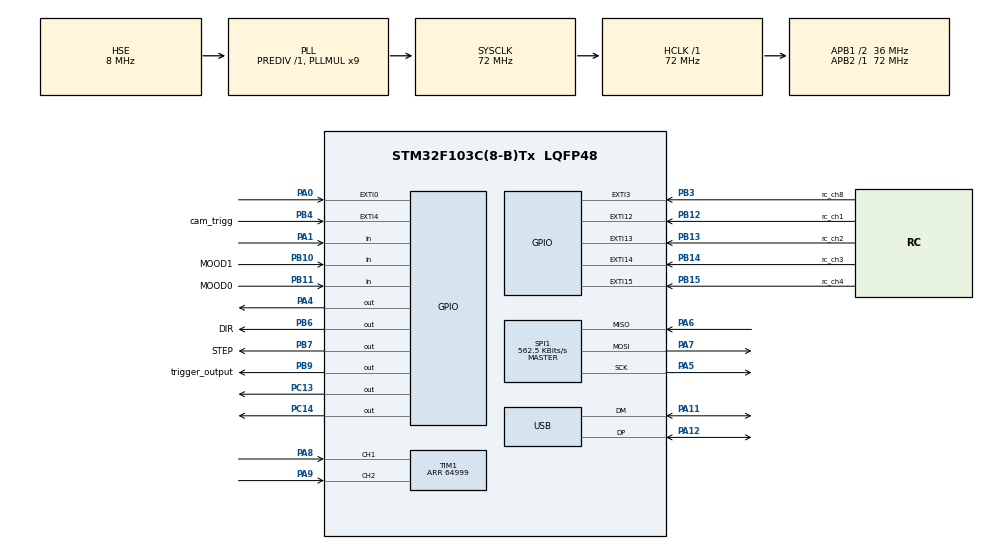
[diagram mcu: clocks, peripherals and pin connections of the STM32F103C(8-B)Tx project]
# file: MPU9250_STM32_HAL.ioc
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Mcu.Family=STM32F1
Mcu.Name=STM32F103C(8-B)Tx
Mcu.Package=LQFP48
NVIC.EXTI0_IRQn=true\:0\:0\:false\:false\:true\:true\:true
NVIC.EXTI15_10_IRQn=true\:0\:0\:false\:false\:true\:true\:true
NVIC.EXTI3_IRQn=true\:0\:0\:false\:false\:true\:true\:true
NVIC.EXTI4_IRQn=true\:0\:0\:false\:false\:true\:true\:true
NVIC.PriorityGroup=NVIC_PRIORITYGROUP_4
NVIC.TIM1_UP_IRQn=true\:0\:0\:false\:false\:true\:true\:true
NVIC.TIM3_IRQn=true\:0\:0\:false\:false\:true\:true\:true
NVIC.TIM4_IRQn=true\:0\:0\:false\:false\:true\:true\:true
NVIC.USB_LP_CAN1_RX0_IRQn=true\:0\:0\:false\:false\:true\:false\:true
PA0-WKUP.Signal=GPXTI0
PA1.Signal=GPIO_Input
PA11.Mode=Device
PA11.Signal=USB_DM
PA12.Mode=Device
PA12.Signal=USB_DP
PA13.Mode=Serial_Wire
PA13.Signal=SYS_JTMS-SWDIO
PA14.Mode=Serial_Wire
PA14.Signal=SYS_JTCK-SWCLK
PA4.Signal=GPIO_Output
PA5.Mode=Full_Duplex_Master
PA5.Signal=SPI1_SCK
PA6.Mode=Full_Duplex_Master
PA6.Signal=SPI1_MISO
PA7.Mode=Full_Duplex_Master
PA7.Signal=SPI1_MOSI
PA8.Signal=S_TIM1_CH1
PA9.Signal=S_TIM1_CH2
PB10.GPIO_Label=MOOD1
PB10.GPIO_PuPd=GPIO_PULLDOWN
PB10.Signal=GPIO_Input
PB11.GPIO_Label=MOOD0
PB11.GPIO_PuPd=GPIO_PULLDOWN
PB11.Signal=GPIO_Input
PB12.GPIO_Label=rc_ch1
PB12.GPIO_ModeDefaultEXTI=GPIO_MODE_IT_RISING_FALLING
PB12.GPIO_PuPd=GPIO_PULLDOWN
PB12.Signal=GPXTI12
PB13.GPIO_Label=rc_ch2
PB13.GPIO_ModeDefaultEXTI=GPIO_MODE_IT_RISING_FALLING
PB13.GPIO_PuPd=GPIO_PULLDOWN
PB13.Signal=GPXTI13
PB14.GPIO_Label=rc_ch3
PB14.GPIO_ModeDefaultEXTI=GPIO_MODE_IT_RISING_FALLING
PB14.GPIO_PuPd=GPIO_PULLDOWN
PB14.Signal=GPXTI14
PB15.GPIO_Label=rc_ch4
PB15.GPIO_ModeDefaultEXTI=GPIO_MODE_IT_RISING_FALLING
PB15.GPIO_PuPd=GPIO_PULLDOWN
PB15.Signal=GPXTI15
PB3.GPIO_Label=rc_ch8
PB3.GPIO_ModeDefaultEXTI=GPIO_MODE_IT_RISING_FALLING
PB3.GPIO_PuPd=GPIO_PULLDOWN
PB3.Signal=GPXTI3
PB4.GPIO_Label=cam_trigg
PB4.GPIO_ModeDefaultEXTI=GPIO_MODE_IT_RISING
PB4.GPIO_PuPd=GPIO_PULLDOWN
PB4.Signal=GPXTI4
PB6.GPIO_Label=DIR
PB6.Signal=GPIO_Output
PB7.GPIO_Label=STEP
PB7.Signal=GPIO_Output
PB9.GPIO_Label=trigger_output
PB9.Signal=GPIO_Output
PC13-TAMPER-RTC.Signal=GPIO_Output
PC14-OSC32_IN.Signal=GPIO_Output
PD0-OSC_IN.Mode=HSE-External-Oscillator
PD0-OSC_IN.Signal=RCC_OSC_IN
PD1-OSC_OUT.Mode=HSE-External-Oscillator
PD1-OSC_OUT.Signal=RCC_OSC_OUT
ProjectManager.HeapSize=0x200
ProjectManager.StackSize=0x400
ProjectManager.TargetToolchain=MDK-ARM V5
RCC.AHBFreq_Value=72000000
RCC.APB1CLKDivider=RCC_HCLK_DIV2
RCC.APB1Freq_Value=36000000
RCC.APB1TimFreq_Value=72000000
RCC.APB2Freq_Value=72000000
RCC.APB2TimFreq_Value=72000000
RCC.HCLKFreq_Value=72000000
RCC.PLLMUL=RCC_PLL_MUL9
RCC.PLLSourceVirtual=RCC_PLLSOURCE_HSE
RCC.SYSCLKFreq_VALUE=72000000
RCC.SYSCLKSource=RCC_SYSCLKSOURCE_PLLCLK
RCC.USBFreq_Value=48000000
RCC.USBPrescaler=RCC_USBCLKSOURCE_PLL_DIV1_5
SH.S_TIM1_CH1.0=TIM1_CH1,Encoder_Interface
SH.S_TIM1_CH2.0=TIM1_CH2,Encoder_Interface
SPI1.BaudRatePrescaler=SPI_BAUDRATEPRESCALER_128
SPI1.CalculateBaudRate=562.5 KBits/s
SPI1.Direction=SPI_DIRECTION_2LINES
SPI1.Mode=SPI_MODE_MASTER
SPI1.VirtualType=VM_MASTER
TIM1.EncoderMode=TIM_ENCODERMODE_TI12
TIM1.Period=64999
TIM3.Period=7199
TIM3.Prescaler=0
TIM4.Period=999
TIM4.Prescaler=71
USB_DEVICE.CLASS_NAME_FS=CDC
USB_DEVICE.VirtualMode=Cdc
USB_DEVICE.VirtualModeFS=Cdc_FS
VP_TIM3_VS_ClockSourceINT.Mode=Internal
VP_TIM4_VS_ClockSourceINT.Mode=Internal
VP_USB_DEVICE_VS_USB_DEVICE_CDC_FS.Mode=CDC_FS
board=MPU9250_STM32_HAL

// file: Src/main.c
/* USER CODE BEGIN Header */
/**
  ******************************************************************************
  * @file           : main.c
  * @brief          : Main program body
  ******************************************************************************
  * @attention
  *
  * <h2><center>&copy; Copyright (c) 2021 STMicroelectronics.
  * All rights reserved.</center></h2>
  *
  * This software component is licensed by ST under Ultimate Liberty license
  * SLA0044, the "License"; You may not use this file except in compliance with
  * the License. You may obtain a copy of the License at:
  *                             www.st.com/SLA0044
  *
  ******************************************************************************
  */
/* USER CODE END Header */

#include "main.h"
#include "usb_device.h"

/* USER CODE BEGIN Includes */
#include "MPU9250_SPI.h"
#include "usbd_cdc_if.h"
#define TRIGGER_WIDTH 5
/* USER CODE END Includes */

SPI_HandleTypeDef hspi1;

TIM_HandleTypeDef htim1;
TIM_HandleTypeDef htim3;
TIM_HandleTypeDef htim4;

/* USER CODE BEGIN PV */
/* Private variables ---------------------------------------------------------*/
volatile uint16_t newDataFlag=0;
volatile uint16_t cdcPortOpenedFlag=0;
long unsigned int interrupt_num=0;
long unsigned int rc_tmp_ts[8];
long unsigned int rc_dt[8];
long unsigned int camera_ts;
extern unsigned long int tim4_index;
volatile float motor_cmd=0;
volatile long int step_counter=0;
unsigned int trigger_timeout=0;
unsigned int camera_timeout_val=49, usb_transmit_timeout_val=99; //20 Hz camera and 100 Hz IMU default rates
int usb_transmit_counter = 0;
int camera_sync_pulse_counter = 0;
enum{MOOD_50HZ,MOOD_40HZ,MOOD_20HZ};
volatile int32_t encoder_index = 0;
int32_t encoder_reading = 0;

	struct DPL{
	int8_t h1;
	int8_t h2;
	int8_t h3;
	int8_t h4;
	struct mpuSensorData Data;
	uint32_t cameraTimeStamp;
	uint32_t imuTimeStamp;
	int32_t stepCounter;
	uint32_t RC_CMD[8];
};
union{
	struct DPL Data;
	uint8_t buffer[24+8 +4+32]; // 8 is added to acount for the Time stamps
	}USB_Packet;

/* USER CODE END PV */

void SystemClock_Config(void);
static void MX_GPIO_Init(void);
static void MX_SPI1_Init(void);
static void MX_TIM4_Init(void);
static void MX_TIM3_Init(void);
static void MX_TIM1_Init(void);
/* USER CODE BEGIN PFP */
/* Private function prototypes -----------------------------------------------*/
unsigned int getMicros(void)
{
	return tim4_index*1000+(unsigned int)TIM4->CNT;
}
int32_t readEncoder(void)
{
	return encoder_index*65000+ (int32_t) TIM1->CNT;

}
/* USER CODE END PFP */

/* USER CODE BEGIN 0 */
void pulse_trigger(int width,int trigger)
{
	int static old_time;
	if((HAL_GetTick()-old_time)<=width)
		HAL_GPIO_WritePin(trigger_output_GPIO_Port,trigger_output_Pin,GPIO_PIN_SET);
	else
		HAL_GPIO_WritePin(trigger_output_GPIO_Port,trigger_output_Pin,GPIO_PIN_RESET);
	if(trigger)
		old_time=HAL_GetTick();
}
/* USER CODE END 0 */

int main(void)
{
  /* USER CODE BEGIN 1 */
	char outdata[100];
	struct mpuSensorData sensorData;

  /* USER CODE END 1 */

  /* MCU Configuration--------------------------------------------------------*/

  /* Reset of all peripherals, Initializes the Flash interface and the Systick. */
  HAL_Init();

  /* Configure the system clock */
  SystemClock_Config();

  /* Initialize all configured peripherals */
  MX_GPIO_Init();
  MX_SPI1_Init();
  MX_USB_DEVICE_Init();
  MX_TIM4_Init();
  MX_TIM3_Init();
  MX_TIM1_Init();
  /* USER CODE BEGIN 2 */
	NSS_HIGH;
	uint8_t data=00;
	HAL_SPI_Transmit(&hspi1,&data,1,100); //init the spi interface pin states
	HAL_Delay(10);
	HAL_TIM_Base_Start_IT(&htim4);
	HAL_TIM_Base_Start_IT(&htim3);
	HAL_TIM_Base_Start_IT(&htim1);
	encoder_index =0;
	mpuBegin();
	uint8_t mood=(HAL_GPIO_ReadPin(MOOD1_GPIO_Port,MOOD1_Pin)<<1)|
							 (HAL_GPIO_ReadPin(MOOD0_GPIO_Port,MOOD0_Pin));

	//mpuMyCustomConfig();
  enableDataReadyInterrupt();
	USB_Packet.Data.h1='a';
	USB_Packet.Data.h2='b';
	USB_Packet.Data.h3='c';
	USB_Packet.Data.h4='\n';
  /* USER CODE END 2 */

  /* Infinite loop */
  while (1)
  {

    /* USER CODE BEGIN 3 */
		pulse_trigger(TRIGGER_WIDTH,0);

		if(newDataFlag)
			{
			encoder_reading = readEncoder();
		  unsigned long long ts=getMicros();
			newDataFlag=0;
			mpuReadSensor(&sensorData);
			if(trigger_timeout>=camera_timeout_val)
			{
				USB_Packet.Data.cameraTimeStamp=ts;
				trigger_timeout=0;
				pulse_trigger(TRIGGER_WIDTH,1);

			}
			else
			{
				trigger_timeout++;
			}

			if(usb_transmit_counter<=usb_transmit_timeout_val)
			{
				usb_transmit_counter++;

			}
			else
			{
				USB_Packet.Data.Data=sensorData;
				memcpy((uint32_t *)USB_Packet.Data.RC_CMD,rc_dt,32);
				USB_Packet.Data.imuTimeStamp=ts;
				USB_Packet.Data.stepCounter=encoder_reading;
				CDC_Transmit_FS(USB_Packet.buffer,sizeof(USB_Packet.buffer));
				//Updating the stepper cmd
				motor_cmd=((float)rc_dt[3]-1500)*5000/500;
				if (motor_cmd<500 && motor_cmd>-500)
					motor_cmd=0;
				usb_transmit_counter=0;
			}
		}

  }
  /* USER CODE END 3 */
}

void SystemClock_Config(void)
{
  RCC_OscInitTypeDef RCC_OscInitStruct = {0};
  RCC_ClkInitTypeDef RCC_ClkInitStruct = {0};
  RCC_PeriphCLKInitTypeDef PeriphClkInit = {0};

  /** Initializes the CPU, AHB and APB busses clocks
  */
  RCC_OscInitStruct.OscillatorType = RCC_OSCILLATORTYPE_HSE;
  RCC_OscInitStruct.HSEState = RCC_HSE_ON;
  RCC_OscInitStruct.HSEPredivValue = RCC_HSE_PREDIV_DIV1;
  RCC_OscInitStruct.HSIState = RCC_HSI_ON;
  RCC_OscInitStruct.PLL.PLLState = RCC_PLL_ON;
  RCC_OscInitStruct.PLL.PLLSource = RCC_PLLSOURCE_HSE;
  RCC_OscInitStruct.PLL.PLLMUL = RCC_PLL_MUL9;
  if (HAL_RCC_OscConfig(&RCC_OscInitStruct) != HAL_OK)
  {
    Error_Handler();
  }
  /** Initializes the CPU, AHB and APB busses clocks
  */
  RCC_ClkInitStruct.ClockType = RCC_CLOCKTYPE_HCLK|RCC_CLOCKTYPE_SYSCLK
                              |RCC_CLOCKTYPE_PCLK1|RCC_CLOCKTYPE_PCLK2;
  RCC_ClkInitStruct.SYSCLKSource = RCC_SYSCLKSOURCE_PLLCLK;
  RCC_ClkInitStruct.AHBCLKDivider = RCC_SYSCLK_DIV1;
  RCC_ClkInitStruct.APB1CLKDivider = RCC_HCLK_DIV2;
  RCC_ClkInitStruct.APB2CLKDivider = RCC_HCLK_DIV1;

  if (HAL_RCC_ClockConfig(&RCC_ClkInitStruct, FLASH_LATENCY_2) != HAL_OK)
  {
    Error_Handler();
  }
  PeriphClkInit.PeriphClockSelection = RCC_PERIPHCLK_USB;
  PeriphClkInit.UsbClockSelection = RCC_USBCLKSOURCE_PLL_DIV1_5;
  if (HAL_RCCEx_PeriphCLKConfig(&PeriphClkInit) != HAL_OK)
  {
    Error_Handler();
  }
}

static void MX_SPI1_Init(void)
{

  /* SPI1 parameter configuration*/
  hspi1.Instance = SPI1;
  hspi1.Init.Mode = SPI_MODE_MASTER;
  hspi1.Init.Direction = SPI_DIRECTION_2LINES;
  hspi1.Init.DataSize = SPI_DATASIZE_8BIT;
  hspi1.Init.CLKPolarity = SPI_POLARITY_LOW;
  hspi1.Init.CLKPhase = SPI_PHASE_1EDGE;
  hspi1.Init.NSS = SPI_NSS_SOFT;
  hspi1.Init.BaudRatePrescaler = SPI_BAUDRATEPRESCALER_128;
  hspi1.Init.FirstBit = SPI_FIRSTBIT_MSB;
  hspi1.Init.TIMode = SPI_TIMODE_DISABLE;
  hspi1.Init.CRCCalculation = SPI_CRCCALCULATION_DISABLE;
  hspi1.Init.CRCPolynomial = 10;
  if (HAL_SPI_Init(&hspi1) != HAL_OK)
  {
    Error_Handler();
  }

}

static void MX_TIM1_Init(void)
{

  TIM_Encoder_InitTypeDef sConfig = {0};
  TIM_MasterConfigTypeDef sMasterConfig = {0};

  htim1.Instance = TIM1;
  htim1.Init.Prescaler = 0;
  htim1.Init.CounterMode = TIM_COUNTERMODE_UP;
  htim1.Init.Period = 64999;
  htim1.Init.ClockDivision = TIM_CLOCKDIVISION_DIV1;
  htim1.Init.RepetitionCounter = 0;
  htim1.Init.AutoReloadPreload = TIM_AUTORELOAD_PRELOAD_DISABLE;
  sConfig.EncoderMode = TIM_ENCODERMODE_TI12;
  sConfig.IC1Polarity = TIM_ICPOLARITY_RISING;
  sConfig.IC1Selection = TIM_ICSELECTION_DIRECTTI;
  sConfig.IC1Prescaler = TIM_ICPSC_DIV1;
  sConfig.IC1Filter = 0;
  sConfig.IC2Polarity = TIM_ICPOLARITY_RISING;
  sConfig.IC2Selection = TIM_ICSELECTION_DIRECTTI;
  sConfig.IC2Prescaler = TIM_ICPSC_DIV1;
  sConfig.IC2Filter = 0;
  if (HAL_TIM_Encoder_Init(&htim1, &sConfig) != HAL_OK)
  {
    Error_Handler();
  }
  sMasterConfig.MasterOutputTrigger = TIM_TRGO_RESET;
  sMasterConfig.MasterSlaveMode = TIM_MASTERSLAVEMODE_DISABLE;
  if (HAL_TIMEx_MasterConfigSynchronization(&htim1, &sMasterConfig) != HAL_OK)
  {
    Error_Handler();
  }

}

static void MX_TIM3_Init(void)
{

  TIM_ClockConfigTypeDef sClockSourceConfig = {0};
  TIM_MasterConfigTypeDef sMasterConfig = {0};

  htim3.Instance = TIM3;
  htim3.Init.Prescaler = 0;
  htim3.Init.CounterMode = TIM_COUNTERMODE_UP;
  htim3.Init.Period = 7199;
  htim3.Init.ClockDivision = TIM_CLOCKDIVISION_DIV1;
  htim3.Init.AutoReloadPreload = TIM_AUTORELOAD_PRELOAD_DISABLE;
  if (HAL_TIM_Base_Init(&htim3) != HAL_OK)
  {
    Error_Handler();
  }
  sClockSourceConfig.ClockSource = TIM_CLOCKSOURCE_INTERNAL;
  if (HAL_TIM_ConfigClockSource(&htim3, &sClockSourceConfig) != HAL_OK)
  {
    Error_Handler();
  }
  sMasterConfig.MasterOutputTrigger = TIM_TRGO_RESET;
  sMasterConfig.MasterSlaveMode = TIM_MASTERSLAVEMODE_DISABLE;
  if (HAL_TIMEx_MasterConfigSynchronization(&htim3, &sMasterConfig) != HAL_OK)
  {
    Error_Handler();
  }

}

static void MX_TIM4_Init(void)
{

  TIM_ClockConfigTypeDef sClockSourceConfig = {0};
  TIM_MasterConfigTypeDef sMasterConfig = {0};

  htim4.Instance = TIM4;
  htim4.Init.Prescaler = 71;
  htim4.Init.CounterMode = TIM_COUNTERMODE_UP;
  htim4.Init.Period = 999;
  htim4.Init.ClockDivision = TIM_CLOCKDIVISION_DIV1;
  htim4.Init.AutoReloadPreload = TIM_AUTORELOAD_PRELOAD_DISABLE;
  if (HAL_TIM_Base_Init(&htim4) != HAL_OK)
  {
    Error_Handler();
  }
  sClockSourceConfig.ClockSource = TIM_CLOCKSOURCE_INTERNAL;
  if (HAL_TIM_ConfigClockSource(&htim4, &sClockSourceConfig) != HAL_OK)
  {
    Error_Handler();
  }
  sMasterConfig.MasterOutputTrigger = TIM_TRGO_RESET;
  sMasterConfig.MasterSlaveMode = TIM_MASTERSLAVEMODE_DISABLE;
  if (HAL_TIMEx_MasterConfigSynchronization(&htim4, &sMasterConfig) != HAL_OK)
  {
    Error_Handler();
  }

}

static void MX_GPIO_Init(void)
{
  GPIO_InitTypeDef GPIO_InitStruct = {0};

  /* GPIO Ports Clock Enable */
  __HAL_RCC_GPIOC_CLK_ENABLE();
  __HAL_RCC_GPIOD_CLK_ENABLE();
  __HAL_RCC_GPIOA_CLK_ENABLE();
  __HAL_RCC_GPIOB_CLK_ENABLE();

  /*Configure GPIO pin Output Level */
  HAL_GPIO_WritePin(GPIOC, GPIO_PIN_13|GPIO_PIN_14, GPIO_PIN_RESET);

  /*Configure GPIO pin Output Level */
  HAL_GPIO_WritePin(GPIOA, GPIO_PIN_4, GPIO_PIN_RESET);

  /*Configure GPIO pin Output Level */
  HAL_GPIO_WritePin(GPIOB, DIR_Pin|STEP_Pin|trigger_output_Pin, GPIO_PIN_RESET);

  /*Configure GPIO pins : PC13 PC14 */
  GPIO_InitStruct.Pin = GPIO_PIN_13|GPIO_PIN_14;
  GPIO_InitStruct.Mode = GPIO_MODE_OUTPUT_PP;
  GPIO_InitStruct.Pull = GPIO_NOPULL;
  GPIO_InitStruct.Speed = GPIO_SPEED_FREQ_LOW;
  HAL_GPIO_Init(GPIOC, &GPIO_InitStruct);

  /*Configure GPIO pin : PA0 */
  GPIO_InitStruct.Pin = GPIO_PIN_0;
  GPIO_InitStruct.Mode = GPIO_MODE_IT_RISING;
  GPIO_InitStruct.Pull = GPIO_NOPULL;
  HAL_GPIO_Init(GPIOA, &GPIO_InitStruct);

  /*Configure GPIO pin : PA1 */
  GPIO_InitStruct.Pin = GPIO_PIN_1;
  GPIO_InitStruct.Mode = GPIO_MODE_INPUT;
  GPIO_InitStruct.Pull = GPIO_NOPULL;
  HAL_GPIO_Init(GPIOA, &GPIO_InitStruct);

  /*Configure GPIO pin : PA4 */
  GPIO_InitStruct.Pin = GPIO_PIN_4;
  GPIO_InitStruct.Mode = GPIO_MODE_OUTPUT_PP;
  GPIO_InitStruct.Pull = GPIO_NOPULL;
  GPIO_InitStruct.Speed = GPIO_SPEED_FREQ_LOW;
  HAL_GPIO_Init(GPIOA, &GPIO_InitStruct);

  /*Configure GPIO pins : MOOD1_Pin MOOD0_Pin */
  GPIO_InitStruct.Pin = MOOD1_Pin|MOOD0_Pin;
  GPIO_InitStruct.Mode = GPIO_MODE_INPUT;
  GPIO_InitStruct.Pull = GPIO_PULLDOWN;
  HAL_GPIO_Init(GPIOB, &GPIO_InitStruct);

  /*Configure GPIO pins : rc_ch1_Pin rc_ch2_Pin rc_ch3_Pin rc_ch4_Pin
                           rc_ch8_Pin */
  GPIO_InitStruct.Pin = rc_ch1_Pin|rc_ch2_Pin|rc_ch3_Pin|rc_ch4_Pin
                          |rc_ch8_Pin;
  GPIO_InitStruct.Mode = GPIO_MODE_IT_RISING_FALLING;
  GPIO_InitStruct.Pull = GPIO_PULLDOWN;
  HAL_GPIO_Init(GPIOB, &GPIO_InitStruct);

  /*Configure GPIO pin : cam_trigg_Pin */
  GPIO_InitStruct.Pin = cam_trigg_Pin;
  GPIO_InitStruct.Mode = GPIO_MODE_IT_RISING;
  GPIO_InitStruct.Pull = GPIO_PULLDOWN;
  HAL_GPIO_Init(cam_trigg_GPIO_Port, &GPIO_InitStruct);

  /*Configure GPIO pins : DIR_Pin STEP_Pin trigger_output_Pin */
  GPIO_InitStruct.Pin = DIR_Pin|STEP_Pin|trigger_output_Pin;
  GPIO_InitStruct.Mode = GPIO_MODE_OUTPUT_PP;
  GPIO_InitStruct.Pull = GPIO_NOPULL;
  GPIO_InitStruct.Speed = GPIO_SPEED_FREQ_LOW;
  HAL_GPIO_Init(GPIOB, &GPIO_InitStruct);

  /* EXTI interrupt init*/
  HAL_NVIC_SetPriority(EXTI0_IRQn, 0, 0);
  HAL_NVIC_EnableIRQ(EXTI0_IRQn);

  HAL_NVIC_SetPriority(EXTI3_IRQn, 0, 0);
  HAL_NVIC_EnableIRQ(EXTI3_IRQn);

  HAL_NVIC_SetPriority(EXTI4_IRQn, 0, 0);
  HAL_NVIC_EnableIRQ(EXTI4_IRQn);

  HAL_NVIC_SetPriority(EXTI15_10_IRQn, 0, 0);
  HAL_NVIC_EnableIRQ(EXTI15_10_IRQn);

}

/* USER CODE BEGIN 4 */
void HAL_GPIO_EXTI_Callback(uint16_t GPIO_Pin)
{
	unsigned long int tmp;
	interrupt_num=GPIO_Pin;
	switch(GPIO_Pin)
	{
		case rc_ch1_Pin:
			if (HAL_GPIO_ReadPin(rc_ch1_GPIO_Port,rc_ch1_Pin)==GPIO_PIN_RESET)
			{

				tmp=getMicros()-rc_tmp_ts[0];
				if ((tmp<2050)&&(tmp>950))
					rc_dt[0]=tmp;
			}
			else
			{
				rc_tmp_ts[0]=getMicros();
			}
			break;
		case rc_ch2_Pin:
		  if (HAL_GPIO_ReadPin(rc_ch2_GPIO_Port,rc_ch2_Pin)==GPIO_PIN_RESET)
			{
				tmp=getMicros()-rc_tmp_ts[1];
				if ((tmp<2050)&&(tmp>950))
					rc_dt[1]=tmp;
			}
			else
			{
				rc_tmp_ts[1]=getMicros();
			}
			break;
		case rc_ch3_Pin:
		  if (HAL_GPIO_ReadPin(rc_ch3_GPIO_Port,rc_ch3_Pin)==GPIO_PIN_RESET)
			{
				tmp=getMicros()-rc_tmp_ts[2];
				if ((tmp<2050)&&(tmp>950))
					rc_dt[2]=tmp;
			}
			else
			{
				rc_tmp_ts[2]=getMicros();
			}
			break;
		case rc_ch4_Pin:
		  if (HAL_GPIO_ReadPin(rc_ch4_GPIO_Port,rc_ch4_Pin)==GPIO_PIN_RESET)
			{
				tmp=getMicros()-rc_tmp_ts[3];
				if ((tmp<2050)&&(tmp>950))
					rc_dt[3]=tmp;
			}
			else
			{
				rc_tmp_ts[3]=getMicros();
			}
			break;
		case rc_ch8_Pin:
		  if (HAL_GPIO_ReadPin(rc_ch8_GPIO_Port,rc_ch8_Pin)==GPIO_PIN_RESET)
			{
				tmp=getMicros()-rc_tmp_ts[7];
				if ((tmp<2050)&&(tmp>950))
					rc_dt[7]=tmp;
			}
			else
			{
				rc_tmp_ts[7]=getMicros();
			}
			break;
		case cam_trigg_Pin:
		camera_ts=getMicros();
			break;
		default:
			break;
	}
}
/* USER CODE END 4 */

void Error_Handler(void)
{
  while(1)
  {
  }
}

/************************ (C) COPYRIGHT STMicroelectronics *****END OF FILE****/
